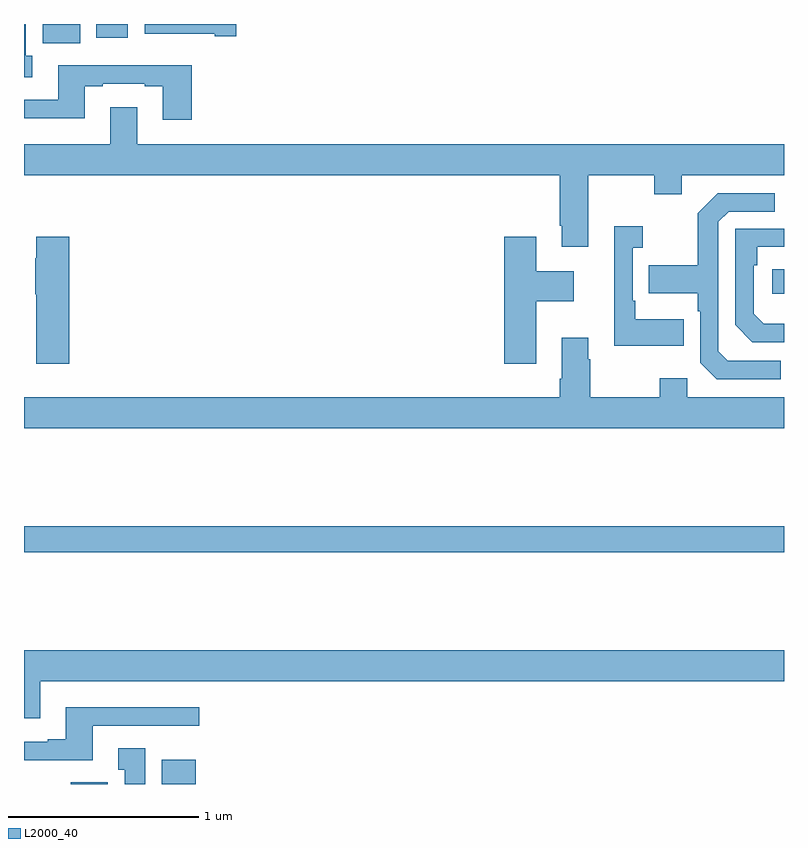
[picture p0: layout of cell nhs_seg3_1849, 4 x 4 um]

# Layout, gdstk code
import gdstk
lib = gdstk.Library(unit=1e-6, precision=1e-09)
def R(c, l, rs):  # rectangles x0, y0, x1, y1
    for r in rs: c.add(gdstk.rectangle(r[:2], r[2:], *l))
def P(c, l, *ps):  # polygons
    for p in ps: c.add(gdstk.Polygon(p, *l))
L2000_40 = (2000, 40)

nhs_seg3_1849 = lib.new_cell('nhs_seg3_1849')
R(nhs_seg3_1849, L2000_40, [(207.245,676.4,207.442,676.408), (207.725,676.4,207.904,676.528), (207,677.62,211,677.756), (210.939,678.98,211,679.11), (207.098,680.3,207.295,680.4), (207.38,680.328,207.547,680.4)])
P(nhs_seg3_1849, L2000_40, [(208.117,680.4),(207.635,680.4),(207.635,680.348),(208.004,680.348),(208.004,680.336),(208.117,680.336)],
  [(207.043,680.234),(207.01,680.234),(207.01,680.4),(207,680.4),(207,680.121),(207.043,680.121)],
  [(207.884,680.182),(207.179,680.182),(207.179,680.001),(207,680.001),(207,679.904),(207.319,679.904),(207.319,680.073),(207.415,680.073),(207.415,680.085),(207.635,680.085),(207.635,680.073),(207.731,680.073),(207.731,679.896),(207.884,679.896)],
  [(209.971,679.604),(210.316,679.604),(210.316,679.505),(210.463,679.505),(210.463,679.604),(211,679.604),(211,679.768),(207.595,679.768),(207.595,679.963),(207.455,679.963),(207.455,679.768),(207,679.768),(207,679.604),(209.819,679.604),(209.819,679.339),(209.831,679.339),(209.831,679.227),(209.971,679.227)],
  [(210.982,678.627),(210.705,678.627),(210.654,678.678),(210.654,679.359),(210.708,679.413),(210.952,679.413),(210.952,679.509),(210.651,679.509),(210.546,679.403),(210.546,679.131),(210.289,679.131),(210.289,678.983),(210.546,678.983),(210.546,678.887),(210.558,678.887),(210.558,678.618),(210.645,678.531),(210.982,678.531)],
  [(210.473,678.847),(210.217,678.847),(210.217,678.943),(210.204,678.943),(210.204,679.223),(210.256,679.223),(210.256,679.336),(210.107,679.336),(210.107,678.707),(210.473,678.707)],
  [(211,678.823),(210.893,678.823),(210.84,678.876),(210.84,679.13),(210.86,679.13),(210.86,679.227),(211,679.227),(211,679.323),(210.744,679.323),(210.744,678.816),(210.834,678.726),(211,678.726)],
  [(209.695,678.941),(209.893,678.941),(209.893,679.099),(209.695,679.099),(209.695,679.279),(209.528,679.279),(209.528,678.612),(209.695,678.612)],
  [(207.238,679.279),(207.065,679.279),(207.065,679.166),(207.058,679.166),(207.058,678.977),(207.065,678.977),(207.065,678.612),(207.238,678.612)],
  [(211,678.436),(210.492,678.436),(210.492,678.535),(210.346,678.535),(210.346,678.436),(209.979,678.436),(209.979,678.635),(209.971,678.635),(209.971,678.748),(209.831,678.748),(209.831,678.532),(209.819,678.532),(209.819,678.436),(207,678.436),(207,678.272),(211,678.272)],
  [(207.085,676.94),(211,676.94),(211,677.104),(207,677.104),(207,676.746),(207.085,676.746)],
  [(207.361,676.707),(207.922,676.707),(207.922,676.804),(207.221,676.804),(207.221,676.636),(207.125,676.636),(207.125,676.623),(207,676.623),(207,676.526),(207.361,676.526)],
  [(207.637,676.588),(207.497,676.588),(207.497,676.475),(207.53,676.475),(207.53,676.4),(207.637,676.4)])

lib.write_gds('nhs_seg3_1849.gds')
